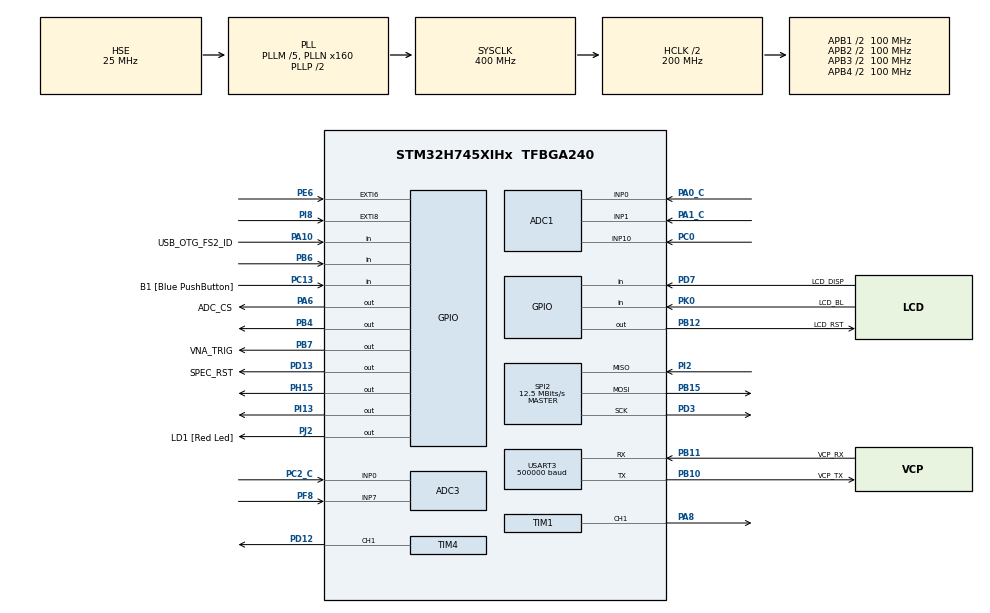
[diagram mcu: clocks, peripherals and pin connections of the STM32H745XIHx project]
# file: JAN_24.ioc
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ADC1.Channel-0\#ChannelRegularConversion=ADC_CHANNEL_0
ADC1.Channel-1\#ChannelRegularConversion=ADC_CHANNEL_1
ADC1.Channel-2\#ChannelRegularConversion=ADC_CHANNEL_10
ADC1.ContinuousConvMode=ENABLE
ADC1.DiscontinuousConvMode=DISABLE
ADC1.NbrOfConversion=3
ADC1.NbrOfConversionFlag=1
ADC1.NbrOfDiscConversion=3
ADC1.OffsetNumber-0\#ChannelRegularConversion=ADC_OFFSET_NONE
ADC1.OffsetNumber-1\#ChannelRegularConversion=ADC_OFFSET_NONE
ADC1.OffsetNumber-2\#ChannelRegularConversion=ADC_OFFSET_NONE
ADC1.OffsetSignedSaturation-0\#ChannelRegularConversion=DISABLE
ADC1.OffsetSignedSaturation-1\#ChannelRegularConversion=DISABLE
ADC1.OffsetSignedSaturation-2\#ChannelRegularConversion=DISABLE
ADC1.Rank-0\#ChannelRegularConversion=1
ADC1.Rank-1\#ChannelRegularConversion=2
ADC1.Rank-2\#ChannelRegularConversion=3
ADC1.SamplingTime-0\#ChannelRegularConversion=ADC_SAMPLETIME_1CYCLE_5
ADC1.SamplingTime-1\#ChannelRegularConversion=ADC_SAMPLETIME_1CYCLE_5
ADC1.SamplingTime-2\#ChannelRegularConversion=ADC_SAMPLETIME_1CYCLE_5
ADC1.master=1
ADC3.Channel-0\#ChannelRegularConversion=ADC_CHANNEL_7
ADC3.NbrOfConversionFlag=1
ADC3.OffsetNumber-0\#ChannelRegularConversion=ADC_OFFSET_NONE
ADC3.OffsetSignedSaturation-0\#ChannelRegularConversion=DISABLE
ADC3.Rank-0\#ChannelRegularConversion=1
ADC3.SamplingTime-0\#ChannelRegularConversion=ADC_SAMPLETIME_1CYCLE_5
CORTEX_M7.CPU_DCache=Enabled
CORTEX_M7.CPU_ICache=Enabled
CortexM4.IPs=FATFS_M4\:I,FREERTOS_M4\:I,IWDG2\:I,RCC,USB_DEVICE_M4\:I,USB_HOST_M4\:I,WWDG2\:I,DMA,BDMA,MDMA,NVIC2\:I,DEBUG,PDM2PCM_M4\:I,PWR,RESMGR_UTILITY,SYS_M4\:I,CORTEX_M4\:I,OPENAMP_M4\:I,VREFBUF,GPIO
CortexM7.IPs=FATFS_M7\:I,FREERTOS_M7\:I,IWDG1\:I,RCC\:I,USB_DEVICE_M7\:I,USB_HOST_M7\:I,WWDG1\:I,DMA\:I,BDMA\:I,MDMA\:I,NVIC1\:I,CORTEX_M7\:I,DEBUG\:I,PDM2PCM_M7\:I,PWR\:I,RESMGR_UTILITY\:I,SYS\:I,OPENAMP_M7\:I,VREFBUF\:I,GPIO\:I,SPI2\:I,USART3\:I,TIM2\:I,TIM1\:I,TIM4\:I,TIM16\:I,ADC1\:I,ADC3\:I
CortexM7.Pins=PB6,PB4 (NJTRST),PH15,PB7,PD7,PA10,PC13,PI8,PE6,PI13,PK0,PA6,PD13,PJ2,PB12
Dma.ADC1.0.Direction=DMA_PERIPH_TO_MEMORY
Dma.ADC1.0.EventEnable=ENABLE
Dma.ADC1.0.FIFOMode=DMA_FIFOMODE_DISABLE
Dma.ADC1.0.Instance=DMA1_Stream0
Dma.ADC1.0.MemDataAlignment=DMA_MDATAALIGN_WORD
Dma.ADC1.0.MemInc=DMA_MINC_ENABLE
Dma.ADC1.0.Mode=DMA_CIRCULAR
Dma.ADC1.0.PeriphDataAlignment=DMA_PDATAALIGN_WORD
Dma.ADC1.0.PeriphInc=DMA_PINC_DISABLE
Dma.ADC1.0.Polarity=HAL_DMAMUX_REQ_GEN_RISING
Dma.ADC1.0.Priority=DMA_PRIORITY_LOW
Dma.ADC1.0.RequestNumber=1
Dma.ADC1.0.SignalID=NONE
Dma.ADC1.0.SyncEnable=DISABLE
Dma.ADC1.0.SyncPolarity=HAL_DMAMUX_SYNC_NO_EVENT
Dma.ADC1.0.SyncRequestNumber=1
Dma.ADC1.0.SyncSignalID=NONE
Dma.Request0=ADC1
Mcu.Family=STM32H7
Mcu.Name=STM32H745XIHx
Mcu.Package=TFBGA240
NVIC1.DMA1_Stream0_IRQn=true\:0\:0\:false\:false\:true\:false\:true\:true
NVIC1.EXTI9_5_IRQn=true\:0\:0\:false\:false\:true\:true\:true\:true
NVIC1.PriorityGroup=NVIC_PRIORITYGROUP_4
NVIC1.TIM16_IRQn=true\:0\:0\:false\:false\:true\:true\:true\:true
NVIC1.TIM2_IRQn=true\:0\:0\:false\:false\:true\:true\:true\:true
NVIC1.TIM4_IRQn=true\:0\:0\:false\:false\:true\:true\:true\:true
NVIC2.PriorityGroup=NVIC_PRIORITYGROUP_4
PA0_C.PinAttribute=CortexM7
PA0_C.Signal=ADCx_INP0
PA10.GPIO_Label=USB_OTG_FS2_ID
PA10.PinAttribute=CortexM7
PA10.Signal=GPIO_Input
PA15\ (JTDI).PinAttribute=CortexM7
PA15\ (JTDI).Signal=SPI3_NSS
PA1_C.PinAttribute=CortexM7
PA1_C.Signal=ADCx_INP1
PA2.GPIO_Label=MII_MDIO
PA2.PinAttribute=CortexM4
PA2.Signal=ETH_MDIO
PA6.GPIO_Label=ADC_CS
PA6.PinAttribute=CortexM7
PA6.Signal=GPIO_Output
PA7.GPIO_Label=MII_RX_DV
PA7.PinAttribute=CortexM4
PA7.Signal=ETH_RX_DV
PA8.PinAttribute=CortexM7
PA8.Signal=S_TIM1_CH1
PA9.GPIO_Label=VBUS_FS2
PA9.PinAttribute=CortexM7
PA9.Signal=USB_OTG_FS_VBUS
PB0.GPIO_Label=MII_RXD2
PB0.PinAttribute=CortexM4
PB0.Signal=ETH_RXD2
PB1.GPIO_Label=MII_RXD3
PB1.PinAttribute=CortexM4
PB1.Signal=ETH_RXD3
PB10.GPIO_Label=VCP_TX
PB10.Mode=Asynchronous
PB10.PinAttribute=CortexM7
PB10.Signal=USART3_TX
PB11.GPIO_Label=VCP_RX
PB11.Mode=Asynchronous
PB11.PinAttribute=CortexM7
PB11.Signal=USART3_RX
PB12.GPIO_Label=LCD_RST
PB12.PinAttribute=CortexM7
PB12.Signal=GPIO_Output
PB13.GPIO_Label=FDCAN2_TX
PB13.PinAttribute=CortexM4
PB13.Signal=FDCAN2_TX
PB15.GPIO_Mode=GPIO_MODE_AF_PP
PB15.GPIO_PuPd=GPIO_NOPULL
PB15.Mode=Full_Duplex_Master
PB15.PinAttribute=CortexM7
PB15.Signal=SPI2_MOSI
PB4\ (NJTRST).PinAttribute=CortexM7
PB4\ (NJTRST).PinState=GPIO_PIN_RESET
PB4\ (NJTRST).Signal=GPIO_Output
PB5.GPIO_Label=FDCAN2_RX
PB5.PinAttribute=CortexM4
PB5.Signal=FDCAN2_RX
PB6.GPIO_Mode=GPIO_MODE_INPUT
PB6.PinAttribute=CortexM7
PB6.Signal=GPIO_Input
PB7.GPIO_Label=VNA_TRIG
PB7.PinAttribute=CortexM7
PB7.Signal=GPIO_Output
PB8.GPIO_Label=SDIO1_D4
PB8.PinAttribute=CortexM4
PB8.Signal=SDMMC1_D4
PB9.GPIO_Label=SDIO1_D5
PB9.PinAttribute=CortexM4
PB9.Signal=SDMMC1_D5
PC0.PinAttribute=CortexM7
PC0.Signal=ADCx_INP10
PC10.GPIO_Label=SDIO1_D2
PC10.PinAttribute=CortexM4
PC10.Signal=SDMMC1_D2
PC11.GPIO_Label=SDIO1_D3
PC11.PinAttribute=CortexM4
PC11.Signal=SDMMC1_D3
PC13.GPIO_Label=B1 [Blue PushButton]
PC13.PinAttribute=CortexM7
PC13.Signal=GPIO_Input
PC14-OSC32_IN\ (OSC32_IN).GPIO_Label=OSC32_IN
PC14-OSC32_IN\ (OSC32_IN).Mode=LSE-External-Clock-Source
PC14-OSC32_IN\ (OSC32_IN).PinAttribute=CortexM7
PC14-OSC32_IN\ (OSC32_IN).Signal=RCC_OSC32_IN
PC15-OSC32_OUT\ (OSC32_OUT).GPIO_Label=OSC32_OUT
PC15-OSC32_OUT\ (OSC32_OUT).PinAttribute=CortexM7
PC15-OSC32_OUT\ (OSC32_OUT).Signal=RCC_OSC32_OUT
PC2.GPIO_Label=MII_TXD2
PC2.PinAttribute=CortexM4
PC2.Signal=ETH_TXD2
PC2_C.Mode=IN0-Single-Ended
PC2_C.PinAttribute=CortexM7
PC2_C.Signal=ADC3_INP0
PC4.GPIO_Label=MII_RXD0
PC4.PinAttribute=CortexM4
PC4.Signal=ETH_RXD0
PC5.GPIO_Label=MII_RXD1
PC5.PinAttribute=CortexM4
PC5.Signal=ETH_RXD1
PC6.GPIO_Label=SDIO1_D6
PC6.PinAttribute=CortexM4
PC6.Signal=SDMMC1_D6
PC7.GPIO_Label=SDIO1_D7
PC7.PinAttribute=CortexM4
PC7.Signal=SDMMC1_D7
PC8.GPIO_Label=SDIO1_D0
PC8.PinAttribute=CortexM4
PC8.Signal=SDMMC1_D0
PD0.PinAttribute=CortexM4
PD0.Signal=FMC_D2_DA2
PD1.PinAttribute=CortexM4
PD1.Signal=FMC_D3_DA3
PD10.PinAttribute=CortexM4
PD10.Signal=FMC_D15_DA15
PD12.PinAttribute=CortexM7
PD12.Signal=S_TIM4_CH1
PD13.GPIO_Label=SPEC_RST
PD13.GPIO_ModeDefaultOutputPP=GPIO_MODE_OUTPUT_PP
PD13.GPIO_PuPd=GPIO_PULLDOWN
PD13.GPIO_Speed=GPIO_SPEED_FREQ_LOW
PD13.PinAttribute=CortexM7
PD13.PinState=GPIO_PIN_SET
PD13.Signal=GPIO_Output
PD14.PinAttribute=CortexM4
PD14.Signal=FMC_D0_DA0
PD15.PinAttribute=CortexM4
PD15.Signal=FMC_D1_DA1
PD2.GPIO_Label=SDIO1_CMD
PD2.PinAttribute=CortexM4
PD2.Signal=SDMMC1_CMD
PD3.GPIO_Speed=GPIO_SPEED_FREQ_LOW
PD3.Mode=Full_Duplex_Master
PD3.PinAttribute=CortexM7
PD3.Signal=SPI2_SCK
PD7.GPIO_Label=LCD_DISP
PD7.PinAttribute=CortexM7
PD7.Signal=GPIO_Input
PD8.PinAttribute=CortexM4
PD8.Signal=FMC_D13_DA13
PD9.PinAttribute=CortexM4
PD9.Signal=FMC_D14_DA14
PE0.PinAttribute=CortexM4
PE0.Signal=FMC_NBL0
PE1.PinAttribute=CortexM4
PE1.Signal=FMC_NBL1
PE10.PinAttribute=CortexM4
PE10.Signal=FMC_D7_DA7
PE11.PinAttribute=CortexM4
PE11.Signal=FMC_D8_DA8
PE12.PinAttribute=CortexM4
PE12.Signal=FMC_D9_DA9
PE13.PinAttribute=CortexM4
PE13.Signal=FMC_D10_DA10
PE14.PinAttribute=CortexM4
PE14.Signal=FMC_D11_DA11
PE15.PinAttribute=CortexM4
PE15.Signal=FMC_D12_DA12
PE2.GPIO_Label=MII_TXD3
PE2.PinAttribute=CortexM4
PE2.Signal=ETH_TXD3
PE4.PinAttribute=CortexM4
PE4.Signal=SAI4_D2
PE5.PinAttribute=CortexM4
PE5.Signal=SAI4_CK2
PE6.PinAttribute=CortexM7
PE6.Signal=GPXTI6
PE7.PinAttribute=CortexM4
PE7.Signal=FMC_D4_DA4
PE8.PinAttribute=CortexM4
PE8.Signal=FMC_D5_DA5
PE9.PinAttribute=CortexM4
PE9.Signal=FMC_D6_DA6
PF0.PinAttribute=CortexM4
PF0.Signal=FMC_A0
PF1.PinAttribute=CortexM4
PF1.Signal=FMC_A1
PF10.PinAttribute=CortexM4
PF10.Signal=QUADSPI_CLK
PF11.PinAttribute=CortexM4
PF11.Signal=FMC_SDNRAS
PF12.PinAttribute=CortexM4
PF12.Signal=FMC_A6
PF13.PinAttribute=CortexM4
PF13.Signal=FMC_A7
PF14.PinAttribute=CortexM4
PF14.Signal=FMC_A8
PF15.PinAttribute=CortexM4
PF15.Signal=FMC_A9
PF2.PinAttribute=CortexM4
PF2.Signal=FMC_A2
PF3.PinAttribute=CortexM4
PF3.Signal=FMC_A3
PF4.PinAttribute=CortexM4
PF4.Signal=FMC_A4
PF5.PinAttribute=CortexM4
PF5.Signal=FMC_A5
PF6.PinAttribute=CortexM4
PF6.Signal=QUADSPI_BK1_IO3
PF7.PinAttribute=CortexM4
PF7.Signal=QUADSPI_BK1_IO2
PF8.Mode=IN7-Single-Ended
PF8.PinAttribute=CortexM7
PF8.Signal=ADC3_INP7
PF9.PinAttribute=CortexM4
PF9.Signal=QUADSPI_BK1_IO1
PG0.PinAttribute=CortexM4
PG0.Signal=FMC_A10
PG1.PinAttribute=CortexM4
PG1.Signal=FMC_A11
PG10.PinAttribute=CortexM4
PG10.Signal=SAI2_SD_B
PG11.GPIO_Label=MII_TX_EN
PG11.PinAttribute=CortexM4
PG11.Signal=ETH_TX_EN
PG12.GPIO_Label=MII_TXD1
PG12.PinAttribute=CortexM4
PG12.Signal=ETH_TXD1
PG13.GPIO_Label=MII_TXD0
PG13.PinAttribute=CortexM4
PG13.Signal=ETH_TXD0
PG15.PinAttribute=CortexM4
PG15.Signal=FMC_SDNCAS
PG4.PinAttribute=CortexM4
PG4.Signal=FMC_A14_BA0
PG5.PinAttribute=CortexM4
PG5.Signal=FMC_A15_BA1
PG8.PinAttribute=CortexM4
PG8.Signal=FMC_SDCLK
PH0-OSC_IN\ (PH0).GPIO_Label=OSC_IN
PH0-OSC_IN\ (PH0).Mode=HSE-External-Oscillator
PH0-OSC_IN\ (PH0).PinAttribute=CortexM7
PH0-OSC_IN\ (PH0).Signal=RCC_OSC_IN
PH1-OSC_OUT\ (PH1).GPIO_Label=OSC_OUT
PH1-OSC_OUT\ (PH1).Mode=HSE-External-Oscillator
PH1-OSC_OUT\ (PH1).PinAttribute=CortexM7
PH1-OSC_OUT\ (PH1).Signal=RCC_OSC_OUT
PH13.GPIO_Label=FDCAN1_TX
PH13.PinAttribute=CortexM4
PH13.Signal=FDCAN1_TX
PH14.GPIO_Label=FDCAN2_RX
PH14.PinAttribute=CortexM4
PH14.Signal=FDCAN1_RX
PH15.PinAttribute=CortexM7
PH15.Signal=GPIO_Output
PH2.GPIO_Label=MII_CRS
PH2.PinAttribute=CortexM4
PH2.Signal=ETH_CRS
PH3.GPIO_Label=MII_COL
PH3.PinAttribute=CortexM4
PH3.Signal=ETH_COL
PH5.PinAttribute=CortexM4
PH5.Signal=FMC_SDNWE
PH6.PinAttribute=CortexM4
PH6.Signal=FMC_SDNE1
PH7.PinAttribute=CortexM4
PH7.Signal=FMC_SDCKE1
PH9.PinAttribute=CortexM4
PH9.Signal=LTDC_R3
PI0.PinAttribute=CortexM4
PI0.Signal=LTDC_G5
PI1.PinAttribute=CortexM4
PI1.Signal=LTDC_G6
PI10.GPIO_Label=MII_RX_ER
PI10.PinAttribute=CortexM4
PI10.Signal=ETH_RX_ER
PI12.PinAttribute=CortexM4
PI12.Signal=LTDC_HSYNC
PI13.PinAttribute=CortexM7
PI13.Signal=GPIO_Output
PI14.PinAttribute=CortexM4
PI14.Signal=LTDC_CLK
PI15.PinAttribute=CortexM4
PI15.Signal=LTDC_R0
PI2.Mode=Full_Duplex_Master
PI2.PinAttribute=CortexM7
PI2.Signal=SPI2_MISO
PI4.PinAttribute=CortexM4
PI4.Signal=SAI2_MCLK_A
PI5.PinAttribute=CortexM4
PI5.Signal=SAI2_SCK_A
PI6.PinAttribute=CortexM4
PI6.Signal=SAI2_SD_A
PI7.PinAttribute=CortexM4
PI7.Signal=SAI2_FS_A
PI8.PinAttribute=CortexM7
PI8.Signal=GPXTI8
PI9.PinAttribute=CortexM4
PI9.Signal=LTDC_VSYNC
PJ0.PinAttribute=CortexM4
PJ0.Signal=LTDC_R1
PJ1.PinAttribute=CortexM4
PJ1.Signal=LTDC_R2
PJ10.PinAttribute=CortexM4
PJ10.Signal=LTDC_G3
PJ11.PinAttribute=CortexM4
PJ11.Signal=LTDC_G4
PJ12.PinAttribute=CortexM4
PJ12.Signal=LTDC_B0
PJ13.PinAttribute=CortexM4
PJ13.Signal=LTDC_B1
PJ14.PinAttribute=CortexM4
PJ14.Signal=LTDC_B2
PJ15.GPIO_Label=LCD_DISP
PJ15.PinAttribute=CortexM4
PJ15.Signal=LTDC_B3
PJ2.GPIO_Label=LD1 [Red Led]
PJ2.PinAttribute=CortexM7
PJ2.Signal=GPIO_Output
PJ3.PinAttribute=CortexM4
PJ3.Signal=LTDC_R4
PJ4.PinAttribute=CortexM4
PJ4.Signal=LTDC_R5
PJ5.PinAttribute=CortexM4
PJ5.Signal=LTDC_R6
PJ6.PinAttribute=CortexM4
PJ6.Signal=LTDC_R7
PJ7.PinAttribute=CortexM4
PJ7.Signal=LTDC_G0
PJ8.PinAttribute=CortexM4
PJ8.Signal=LTDC_G1
PJ9.PinAttribute=CortexM4
PJ9.Signal=LTDC_G2
PK0.GPIO_Label=LCD_BL
PK0.PinAttribute=CortexM7
PK0.Signal=GPIO_Input
PK2.PinAttribute=CortexM4
PK2.Signal=LTDC_G7
PK3.PinAttribute=CortexM4
PK3.Signal=LTDC_B4
PK4.PinAttribute=CortexM4
PK4.Signal=LTDC_B5
PK5.PinAttribute=CortexM4
PK5.Signal=LTDC_B6
PK6.PinAttribute=CortexM4
PK6.Signal=LTDC_B7
PK7.PinAttribute=CortexM4
PK7.Signal=LTDC_DE
ProjectManager.HeapSize=M4-0x200,M7-0x200
ProjectManager.StackSize=M4-0x400,M7-0x400
ProjectManager.TargetToolchain=STM32CubeIDE
RCC.ADCFreq_Value=75000000
RCC.APB1Freq_Value=100000000
RCC.APB2Freq_Value=100000000
RCC.APB3Freq_Value=100000000
RCC.APB4Freq_Value=100000000
RCC.CortexFreq_Value=400000000
RCC.D1PPRE=RCC_APB3_DIV2
RCC.D2PPRE1=RCC_APB1_DIV2
RCC.D2PPRE2=RCC_APB2_DIV2
RCC.D3PPRE=RCC_APB4_DIV2
RCC.DIVM1=5
RCC.DIVM2=2
RCC.DIVN1=160
RCC.DIVN2=12
RCC.DIVN3=192
RCC.DIVQ1=4
RCC.DIVR1=4
RCC.HCLKFreq_Value=200000000
RCC.HPRE=RCC_HCLK_DIV2
RCC.PLLSourceVirtual=RCC_PLLSOURCE_HSE
RCC.SYSCLKFreq_VALUE=400000000
RCC.SYSCLKSource=RCC_SYSCLKSOURCE_PLLCLK
RCC.SupplySource=PWR_DIRECT_SMPS_SUPPLY
RCC.USBFreq_Value=200000000
SH.ADCx_INP0.0=ADC1_INP0,IN0-Single-Ended
SH.ADCx_INP1.0=ADC1_INP1,IN1-Single-Ended
SH.ADCx_INP10.0=ADC1_INP10,IN10-Single-Ended
SH.FMC_A0.0=FMC_A0
SH.FMC_A1.0=FMC_A1
SH.FMC_A10.0=FMC_A10
SH.FMC_A11.0=FMC_A11
SH.FMC_A14_BA0.0=FMC_BA0
SH.FMC_A15_BA1.0=FMC_BA1
SH.FMC_A2.0=FMC_A2
SH.FMC_A3.0=FMC_A3
SH.FMC_A4.0=FMC_A4
SH.FMC_A5.0=FMC_A5
SH.FMC_A6.0=FMC_A6
SH.FMC_A7.0=FMC_A7
SH.FMC_A8.0=FMC_A8
SH.FMC_A9.0=FMC_A9
SH.FMC_D0_DA0.0=FMC_D0
SH.FMC_D10_DA10.0=FMC_D10
SH.FMC_D11_DA11.0=FMC_D11
SH.FMC_D12_DA12.0=FMC_D12
SH.FMC_D13_DA13.0=FMC_D13
SH.FMC_D14_DA14.0=FMC_D14
SH.FMC_D15_DA15.0=FMC_D15
SH.FMC_D1_DA1.0=FMC_D1
SH.FMC_D2_DA2.0=FMC_D2
SH.FMC_D3_DA3.0=FMC_D3
SH.FMC_D4_DA4.0=FMC_D4
SH.FMC_D5_DA5.0=FMC_D5
SH.FMC_D6_DA6.0=FMC_D6
SH.FMC_D7_DA7.0=FMC_D7
SH.FMC_D8_DA8.0=FMC_D8
SH.FMC_D9_DA9.0=FMC_D9
SH.FMC_NBL0.0=FMC_NBL0
SH.FMC_NBL1.0=FMC_NBL1
SH.FMC_SDCLK.0=FMC_SDCLK
SH.FMC_SDNCAS.0=FMC_SDNCAS
SH.FMC_SDNRAS.0=FMC_SDNRAS
SH.FMC_SDNWE.0=FMC_SDNWE
SH.S_TIM1_CH1.0=TIM1_CH1,PWM Generation1 CH1
SH.S_TIM4_CH1.0=TIM4_CH1,PWM Generation1 CH1
SPI2.BaudRatePrescaler=SPI_BAUDRATEPRESCALER_16
SPI2.CLKPhase=SPI_PHASE_2EDGE
SPI2.CLKPolarity=SPI_POLARITY_HIGH
SPI2.CalculateBaudRate=12.5 MBits/s
SPI2.DataSize=SPI_DATASIZE_16BIT
SPI2.Direction=SPI_DIRECTION_2LINES
SPI2.Mode=SPI_MODE_MASTER
SPI2.NSSPolarity=SPI_NSS_POLARITY_LOW
SPI2.VirtualType=VM_MASTER
TIM1.AutoReloadPreload=TIM_AUTORELOAD_PRELOAD_ENABLE
TIM1.Channel-PWM\ Generation1\ CH1=TIM_CHANNEL_1
TIM1.OCFastMode_PWM-PWM\ Generation1\ CH1=TIM_OCFAST_DISABLE
TIM1.Period=50
TIM1.Prescaler=200
TIM1.Pulse-PWM\ Generation1\ CH1=0
TIM16.AutoReloadPreload=TIM_AUTORELOAD_PRELOAD_ENABLE
TIM16.Period=2000-1
TIM16.Prescaler=2000-1
TIM2.AutoReloadPreload=TIM_AUTORELOAD_PRELOAD_ENABLE
TIM2.Period=10-1
TIM2.Prescaler=200-1
TIM4.AutoReloadPreload=TIM_AUTORELOAD_PRELOAD_ENABLE
TIM4.Channel-PWM\ Generation1\ CH1=TIM_CHANNEL_1
TIM4.OCPolarity_1=TIM_OCPOLARITY_LOW
TIM4.Period=10-1
TIM4.Prescaler=200-1
USART3.BaudRate=500000
USART3.Mode=MODE_TX
USART3.VirtualMode-Asynchronous=VM_ASYNC
VP_SYS_M4_VS_Systick.Mode=SysTick
VP_TIM16_VS_ClockSourceINT.Mode=Enable_Timer
VP_TIM1_VS_ClockSourceINT.Mode=Internal
VP_TIM2_VS_ClockSourceINT.Mode=Internal
board=STM32H745I-DISCO

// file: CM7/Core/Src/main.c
/* USER CODE BEGIN Header */
/**
  ******************************************************************************
  * @file           : main.c
  * @brief          : Main program body
  ******************************************************************************
  * @attention
  *
  * Copyright (c) 2023 STMicroelectronics.
  * All rights reserved.
  *
  * This software is licensed under terms that can be found in the LICENSE file
  * in the root directory of this software component.
  * If no LICENSE file comes with this software, it is provided AS-IS.
  *
  * Capstone team 42 2022/2023
  * Author: Joseph Peterson (joepetejp@gmail.com)
  * Date: March 13 2023
  *
  * Overview: The purpose of this code is to collect both optical spectrometry and
  * bioimpedance data concurrently. The timing of this code is driven by two timers.
  * The first timer runs at 50 Hz and controlls the data collection speed for the
  * entire system. Each time the 50 Hz timer triggers, it begins a data collection cycle
  * which includes triggering the VNA, triggering the Homamatsu Chip, collecting from the
  * H-chip via external ADC and saving that data to solid state memory.
  *
  * The second timer runs at 100KHz and is associated with the variable counter which
  * appears frequently in the main loop of the code.This timer exactly matches the
  * frequency of the clock that tells the H-chip how fast to send data. It is this faster
  * timer that controls the timing of the actual data collection cycle.
  *
  *
  ******************************************************************************
  */
/* USER CODE END Header */
#include "main.h"

/* USER CODE BEGIN Includes */
#include "stdio.h"
#include "stdbool.h"
#include "pthread.h"
#include <stdio.h>
#include <stdlib.h>
/* USER CODE END Includes */

ADC_HandleTypeDef hadc1;
ADC_HandleTypeDef hadc3;
DMA_HandleTypeDef hdma_adc1;

SPI_HandleTypeDef hspi2;

TIM_HandleTypeDef htim1;
TIM_HandleTypeDef htim2;
TIM_HandleTypeDef htim4;
TIM_HandleTypeDef htim16;

UART_HandleTypeDef huart3;

/* USER CODE BEGIN PV */
// Global Variables
//*************************Boolean Values************************************************************************************************************************************************
bool optReady = false; // True if the H-chip is ready to send data
bool slowSPI = false;
bool sendData = false;

//*************************Data Buffers**************************************************************************************************************************************************
uint16_t spi_read_buf; // Temporarily holds data which is read via SPI from the ADC
uint16_t spi_destroy_buf; // Holds data that is unimportant to us

//*************************Data Collection Cycle Variables*******************************************************************************************************************************
int counter = 0; // Fast counter associated with timer 2, incremented in interrupt function
int slowCounter = 0; // Slow counter associated with timer 16, also incremented in IF
int seconds = 0; // Counts how many seconds of data we have collected
int collected = 0; // Counts how many data samples have been collected in given data cycle
int needed = 130; // Number of samples needed from H-chip in given cycle
int counterPrevious = 0; // Records previous value of counter

//*************************LED Control Variables*****************************************************************************************************************************************
//float calibration = [0.5, 0.25, 0.125, 0.05, 0.025, 0.0125, 0.005];
//float LED_Voltages = [2.0, 2.0, 2.0, 2.0, 2.0];
//int LED_Cal_Set = [0, 0, 0, 0, 0];
//float vSense_Array[] = [0, 0, 0, 0, 0];
//int LED_Voltage_Shootover = [0, 0, 0, 0, 0];
//float Vat50mA = 2.6;

//*************************States********************************************************************************************************************************************************
enum states{collect,wait,test,checkLED}state; //States which main loop switches between
/* USER CODE END PV */

void SystemClock_Config(void);
void PeriphCommonClock_Config(void);
static void MX_GPIO_Init(void);
static void MX_DMA_Init(void);
static void MX_USART3_UART_Init(void);
static void MX_TIM2_Init(void);
static void MX_TIM1_Init(void);
static void MX_TIM4_Init(void);
static void MX_TIM16_Init(void);
static void MX_ADC1_Init(void);
static void MX_SPI2_Init(void);
static void MX_ADC3_Init(void);
/* USER CODE BEGIN PFP */
TIM_HandleTypeDef htim2;

/* USER CODE END PFP */

/* USER CODE BEGIN 0 */
uint32_t value[3];
/* USER CODE END 0 */

int main(void)
{
/* USER CODE BEGIN Boot_Mode_Sequence_0 */

/* USER CODE END Boot_Mode_Sequence_0 */

  /* Enable I-Cache---------------------------------------------------------*/
  SCB_EnableICache();

  /* Enable D-Cache---------------------------------------------------------*/
  SCB_EnableDCache();

/* USER CODE BEGIN Boot_Mode_Sequence_1 */
  /* Wait until CPU2 boots and enters in stop mode or timeout*/
 /* timeout = 0xFFFF;
  while((__HAL_RCC_GET_FLAG(RCC_FLAG_D2CKRDY) != RESET) && (timeout-- > 0));
  if ( timeout < 0 )
  {
  Error_Handler();
  }*/
/* USER CODE END Boot_Mode_Sequence_1 */
  /* MCU Configuration--------------------------------------------------------*/

  /* Reset of all peripherals, Initializes the Flash interface and the Systick. */
  HAL_Init();

  /* Configure the system clock */
  SystemClock_Config();

/* Configure the peripherals common clocks */
  PeriphCommonClock_Config();
/* USER CODE BEGIN Boot_Mode_Sequence_2 */
/* When system initialization is finished, Cortex-M7 will release Cortex-M4 by means of
HSEM notification */
/*HW semaphore Clock enable*/
__HAL_RCC_HSEM_CLK_ENABLE();
/*Take HSEM */
//HAL_HSEM_FastTake(HSEM_ID_0);
///*Release HSEM in order to notify the CPU2(CM4)*/
//HAL_HSEM_Release(HSEM_ID_0,0);
///* wait until CPU2 wakes up from stop mode */
//timeout = 0xFFFF;
//while((__HAL_RCC_GET_FLAG(RCC_FLAG_D2CKRDY) == RESET) && (timeout-- > 0));
//if ( timeout < 0 )
//{
//Error_Handler();
//}
/* USER CODE END Boot_Mode_Sequence_2 */

  /* Initialize all configured peripherals */
  MX_GPIO_Init();
  MX_DMA_Init();
  MX_USART3_UART_Init();
  MX_TIM2_Init();
  MX_TIM1_Init();
  MX_TIM4_Init();
  MX_TIM16_Init();
  MX_ADC1_Init();
  MX_SPI2_Init();
  MX_ADC3_Init();
  /* USER CODE BEGIN 2 */
  HAL_TIM_Base_Start_IT(&htim2);
  HAL_TIM_Base_Start_IT(&htim16);
  HAL_TIM_PWM_Start(&htim4,TIM_CHANNEL_1);
  HAL_TIM_PWM_Start(&htim4,TIM_CHANNEL_2);

  TIM4->CCR1 = 5;
  TIM4->CCR2 = 5; // 5/10 50 percent duty cycle, becomes the clock for the H-chip
  /* USER CODE END 2 */

  /* Infinite loop */
  /* USER CODE BEGIN WHILE */

  uint16_t writeBuf1 = 0b0000100001100100; // LED
  uint16_t writeBuf2 = 0b0000010001100100; // LED
  uint16_t writeBuf3 = 0b0000110001100100; // LED
  uint16_t writeBuf4 = 0b0000001001100100; // LED
  uint16_t writeBuf5 = 0b0000101001100100; // LED
  uint16_t writeBuf6 = 0b0000011001100100; // LED
  uint16_t ADCData[needed];
  char uart_buf[1000];
  int uart_buf_len;
  char num[6];

  HAL_GPIO_WritePin(GPIOB,GPIO_PIN_4,GPIO_PIN_RESET);
  slowSPI = true;
  MX_SPI2_Init();
  //hspi2.Init.BaudRatePrescaler = SPI_BAUDRATEPRESCALER_32;
  HAL_SPI_Transmit(&hspi2,(uint16_t *)&writeBuf1,1,100);
  HAL_GPIO_WritePin(GPIOB,GPIO_PIN_4,GPIO_PIN_SET);
  HAL_GPIO_WritePin(GPIOB,GPIO_PIN_4,GPIO_PIN_RESET);
  HAL_SPI_Transmit(&hspi2,(uint16_t *)&writeBuf2,1,100);
  HAL_GPIO_WritePin(GPIOB,GPIO_PIN_4,GPIO_PIN_SET);
  HAL_GPIO_WritePin(GPIOB,GPIO_PIN_4,GPIO_PIN_RESET);
  HAL_SPI_Transmit(&hspi2,(uint16_t *)&writeBuf3,1,100);
  HAL_GPIO_WritePin(GPIOB,GPIO_PIN_4,GPIO_PIN_SET);
  HAL_GPIO_WritePin(GPIOB,GPIO_PIN_4,GPIO_PIN_RESET);
  HAL_SPI_Transmit(&hspi2,(uint16_t *)&writeBuf4,1,100);
  HAL_GPIO_WritePin(GPIOB,GPIO_PIN_4,GPIO_PIN_SET);
  HAL_GPIO_WritePin(GPIOB,GPIO_PIN_4,GPIO_PIN_RESET);
  HAL_SPI_Transmit(&hspi2,(uint16_t *)&writeBuf5,1,100);
  HAL_GPIO_WritePin(GPIOB,GPIO_PIN_4,GPIO_PIN_SET);
  HAL_GPIO_WritePin(GPIOB,GPIO_PIN_4,GPIO_PIN_RESET);
  HAL_SPI_Transmit(&hspi2,(uint16_t *)&writeBuf6,1,100);
  HAL_GPIO_WritePin(GPIOB,GPIO_PIN_4,GPIO_PIN_SET);
  HAL_ADC_Start_DMA(&hadc1, value, 3);

  HAL_Delay(1000);

  //char spi_read_buf[20];

  state = collect; //Initial state. Set to test to test out a block of code.
  while (1)
  {
	  switch(state){
	  	  case collect:

	  		    if (counter == 0) // set spec reset pin high to tell h-chip to send data
				{
					HAL_GPIO_WritePin(GPIOD, SPEC_RST_Pin,GPIO_PIN_SET); // Tells H-chip to send data
					HAL_GPIO_WritePin(GPIOB, VNA_TRIG_Pin,GPIO_PIN_SET); // Tells VNA to collect data
				}
	  		    else if (counter == 10) // set spec reset back low
				{
					HAL_GPIO_WritePin(GPIOD, SPEC_RST_Pin,GPIO_PIN_RESET); // Sends SPEC_RST back low
					optReady = true; // We found that it was more effective to hard code the timing of this rather than tying optReady to an external interrupt
				}
				else if (optReady && (counter > counterPrevious) && (collected < needed) && (counter > 14)) // wait for AD_SP from the h-chip then uses spi2 to read from adc
				{

					for(int i = 0; i < 12; i++) // A little jenky, delays so that timing is right for data collection from H-chip
					{
						HAL_GPIO_TogglePin(GPIOI,GPIO_PIN_13);//This is the onboard red LED
					}
					HAL_GPIO_WritePin(GPIOA,ADC_CS_Pin,GPIO_PIN_SET); //CS for ADC, ADC collects at the moment this goes high
				    HAL_SPI_Receive(&hspi2, &spi_destroy_buf, 1, 100); //ADC needs this clock to convert analog value to Digital
				    HAL_GPIO_WritePin(GPIOA,ADC_CS_Pin,GPIO_PIN_RESET); //Tells ADC we are done sampling
				    HAL_SPI_Receive(&hspi2, &spi_read_buf, 1, 100); // Read digital value from ADC
				    counterPrevious = counter; // So we only collect when the value of counter changes
				    ADCData[collected] = spi_read_buf; // append to array
				    collected++;

				}
				else if (collected == needed) // Stop collecting data, save data
				{
//					char uart_buf[1000];
//					int uart_buf_len;
//				    int i;
//
//				    for (i = 0; i < 25; i++) {
//				        char num[6]; // allocate space for a 5-digit number and a null terminator
//				        sprintf(num, "%hu", ADCData[i]); // convert uint16_t to string
//				        strcat(uart_buf, num); // concatenate string with current number
//				        if (i < 24) { // add a comma after every element except the last one
//				            strcat(uart_buf, ",");
//				        }
//				        if (i > 23) { // add a comma after every element except the last one
//							strcat(uart_buf, ",");
//							sprintf(num, "%hu", slowCounter);
//							strcat(uart_buf,num);
//							strcat(uart_buf, "\n");
//						}
//				    }
				    //sprintf(uart_buf, "%d\n", slowCounter);
					//***********This block sends data over UART for testing purposes**************************************************************************************************************************
//					uart_buf_len = strlen(uart_buf);//sprintf(uart_buf, "%d", ADCData[127]);
//					HAL_UART_Transmit(&huart3,(uint8_t *)uart_buf,strlen(uart_buf),100);
//					memset(uart_buf,0,uart_buf_len);
					//uart_buf = "";
					//uart_buf_len = 0;
    				//uart_buf_len = sprintf(uart_buf,"\n");
//					HAL_UART_Transmit(&huart3,(uint8_t *)uart_buf,uart_buf_len,100);
					//*****************************************************************************************************************************************************************************************
					collected = 0; // Resets Collected to 0 for next data collection cycle
					optReady = false; // Prevents code from trying to collect from ADC until reset to true
					//************this is where we save the data***********************************************************************************************************************************************;
				}
				else if (counter == 160) // reset after one data collection cycle
				{
					counter = 0;
					counterPrevious = 0;
					state = wait;
					sendData = true;
				}
	  		    if (counter == 20) //Sets VNA_TRIG_Pin low without interrupting timing of H-Chip collection
	  		    {
	  		    	HAL_GPIO_WritePin(GPIOB,VNA_TRIG_Pin,GPIO_PIN_RESET);
	  		    }
				break;
	  	  case wait:
	  		  	// Just waits for 50Hz timer to switch state back to collect and checks LEDs once a second
	  		  	 if (sendData)
				 {
					for (int i = 1; i < 129; i++) {
						//char num[6]; // allocate space for a 5-digit number and a null terminator
						sprintf(num, "%hu", ADCData[i]); // convert uint16_t to string
						strcat(uart_buf, num); // concatenate string with current number
						if (i < 128) { // add a comma after every element except the last one
							strcat(uart_buf, ",");
						}
						if (i == 128) { // add a comma after every element except the last one
//							strcat(uart_buf, ",");
//							sprintf(num, "%hu", slowCounter);
//							strcat(uart_buf,num);
							strcat(uart_buf, "\n");
						}
					}
					uart_buf_len = strlen(uart_buf);//sprintf(uart_buf, "%d", ADCData[127]);
					HAL_UART_Transmit(&huart3,(uint8_t *)uart_buf,strlen(uart_buf),50);
					memset(uart_buf,0,uart_buf_len);
					sendData = false;
				 }
	  		  	 if (slowCounter > 50)
	  		  	{
	  		  		slowCounter = 0;
	  		  		//state = checkLED;
	  		  		//seconds++;
	  		  	}
	  		  	break;
	  	  case checkLED:
//	  		  	vSense_Array[0] = vSense0;
//	  		    vSense_Array[1] = vSense1;
//	  		    vSense_Array[2] = vSense2;
//	  		    vSense_Array[3] = vSense3;
//	  		    vSense_Array[4] = vSense4;
//
//	  		    for (int i = 0; i < 5; i++) {
//	  		      if (vSense_Array[i] < Vat50mA) {
//	  		        if (!LED_Voltage_Shootover[i]) {
//	  		          LED_Voltages[i] = LED_Voltages[i] + calibration[0];
//	  		        }
//	  		        else {
//	  		          LED_Cal_Set[i]++;
//	  		          LED_Voltages[i] = LED_Voltages[i] + calibration[LED_Cal_Set[i]];
//	  		        }
//	  		      }
//	  		      else if (vSense_Array[i] > Vat50mA) {
//	  		        LED_Voltage_shootover[i] = 1;
//	  		        LED_Cal_Set[i]++;
//	  		        LED_Voltages[i] = LED_Voltages[i] - calibration[LED_Cal_Set[i]];
//	  		      }
//	  		    }
	  		  	break;

	  	  case test: //Never runs in normal code operation, just a handy place to test something out
	  		  //To use set state to test right above the while loop
		  HAL_TIM_Base_Stop_IT(&htim2);
		  HAL_TIM_Base_Stop_IT(&htim16);
//	  		uint32_t adc_value = 0;
//	  		uint32_t data_conversion_1 = 0;
//			uint32_t data_conversion_2 = 0;
//			uint32_t data_conversion_3 = 0;
//			value[0] = HAL_ADC_GetValue(&hadc1);
//			value[1] = HAL_ADC_GetValue(&hadc1);
//			value[2] = HAL_ADC_GetValue(&hadc1);

			//uint32_t value[3];
			//HAL_ADC_Start_DMA(&hadc1, value, 3); // start adc in DMA mode
			//HAL_ADC_Stop_DMA(&hadc1);

//	  		HAL_ADC_Start(&hadc1);
//
//	  		HAL_ADC_PollForConversion(&hadc1,10);
//
//	  		data_conversion_1 = HAL_ADC_GetValue(&hadc1);
//
//	  		HAL_ADC_Start(&hadc1);
//
//	  		HAL_ADC_PollForConversion(&hadc1,10);
//
//	  		data_conversion_2 = HAL_ADC_GetValue(&hadc1);
//
//	  		HAL_ADC_Start(&hadc1);
//
//			HAL_ADC_PollForConversion(&hadc1,10);
//
//			data_conversion_3 = HAL_ADC_GetValue(&hadc1);
//
//	  		HAL_ADC_Stop(&hadc1);
//	  		if (HAL_ADC_Start(&hadc1) == HAL_OK)
//	  		{
//	  		  if (HAL_ADC_PollForConversion(&hadc1, 10) == HAL_OK)
//	  		  {
//	  		    adc_value = HAL_ADC_GetValue(&hadc1);
//	  		  }
//	  		  HAL_ADC_Stop(&hadc1);
//	  		}
			//HAL_ADC_PollForConversion(&hadc1,10);

//	  		uart_buf_len = sprintf(uart_buf, "%d", value[0]);
//			HAL_UART_Transmit(&huart3,(uint8_t *)uart_buf,uart_buf_len,100);
//			uart_buf_len = sprintf(uart_buf, "\n");
//			HAL_UART_Transmit(&huart3,(uint8_t *)uart_buf,uart_buf_len,100);
//			HAL_Delay(50);
//	  		  HAL_TIM_Base_Stop_IT(&htim2);
//	  		  HAL_TIM_Base_Stop_IT(&htim16);
//
//
	  		  HAL_GPIO_WritePin(GPIOB,GPIO_PIN_4,GPIO_PIN_RESET);
	  		  slowSPI = true;
	  		  MX_SPI2_Init();
	  		  //hspi2.Init.BaudRatePrescaler = SPI_BAUDRATEPRESCALER_32;
	  		  HAL_SPI_Transmit(&hspi2,(uint16_t *)&writeBuf1,1,100);
	  		  HAL_GPIO_WritePin(GPIOB,GPIO_PIN_4,GPIO_PIN_SET);
	  		  HAL_GPIO_WritePin(GPIOB,GPIO_PIN_4,GPIO_PIN_RESET);
	  		  HAL_SPI_Transmit(&hspi2,(uint16_t *)&writeBuf2,1,100);
	  		  HAL_GPIO_WritePin(GPIOB,GPIO_PIN_4,GPIO_PIN_SET);
	  		  HAL_GPIO_WritePin(GPIOB,GPIO_PIN_4,GPIO_PIN_RESET);
	  		  HAL_SPI_Transmit(&hspi2,(uint16_t *)&writeBuf3,1,100);
	  		  HAL_GPIO_WritePin(GPIOB,GPIO_PIN_4,GPIO_PIN_SET);
	  		  HAL_GPIO_WritePin(GPIOB,GPIO_PIN_4,GPIO_PIN_RESET);
	  		  HAL_SPI_Transmit(&hspi2,(uint16_t *)&writeBuf4,1,100);
	  		  HAL_GPIO_WritePin(GPIOB,GPIO_PIN_4,GPIO_PIN_SET);
	  		  HAL_GPIO_WritePin(GPIOB,GPIO_PIN_4,GPIO_PIN_RESET);
	  		  HAL_SPI_Transmit(&hspi2,(uint16_t *)&writeBuf5,1,100);
	  		  HAL_GPIO_WritePin(GPIOB,GPIO_PIN_4,GPIO_PIN_SET);
	  		  HAL_GPIO_WritePin(GPIOB,GPIO_PIN_4,GPIO_PIN_RESET);
	  		  HAL_SPI_Transmit(&hspi2,(uint16_t *)&writeBuf6,1,100);
	  		  HAL_GPIO_WritePin(GPIOB,GPIO_PIN_4,GPIO_PIN_SET);
	  		  //hspi2.Init.BaudRatePrescaler = SPI_BAUDRATEPRESCALER_16;
	  		  //hspi2.Init.NSSPMode = SPI_NSS_PULSE_DISABLE;
//
//	  		  HAL_GPIO_TogglePin(GPIOA,ADC_CS_Pin);
//	  		  HAL_SPI_Receive(&hspi2, (uint16_t *)spi_read_buf, 1, 100);
//	  		  HAL_GPIO_TogglePin(GPIOA,ADC_CS_Pin);
//	  		  HAL_SPI_Receive(&hspi2, (uint16_t *)spi_read_buf, 1, 100);
//	  		  HAL_GPIO_TogglePin(GPIOI,GPIO_PIN_13);
//	  		  HAL_Delay(50);

	  		  break;

	  }

    /* USER CODE END WHILE */

  }
}

void SystemClock_Config(void)
{
  RCC_OscInitTypeDef RCC_OscInitStruct = {0};
  RCC_ClkInitTypeDef RCC_ClkInitStruct = {0};

  /** Supply configuration update enable
  */
  HAL_PWREx_ConfigSupply(PWR_DIRECT_SMPS_SUPPLY);

  /** Configure the main internal regulator output voltage
  */
  __HAL_PWR_VOLTAGESCALING_CONFIG(PWR_REGULATOR_VOLTAGE_SCALE1);

  while(!__HAL_PWR_GET_FLAG(PWR_FLAG_VOSRDY)) {}

  /** Macro to configure the PLL clock source
  */
  __HAL_RCC_PLL_PLLSOURCE_CONFIG(RCC_PLLSOURCE_HSE);

  /** Initializes the RCC Oscillators according to the specified parameters
  * in the RCC_OscInitTypeDef structure.
  */
  RCC_OscInitStruct.OscillatorType = RCC_OSCILLATORTYPE_HSE;
  RCC_OscInitStruct.HSEState = RCC_HSE_ON;
  RCC_OscInitStruct.PLL.PLLState = RCC_PLL_ON;
  RCC_OscInitStruct.PLL.PLLSource = RCC_PLLSOURCE_HSE;
  RCC_OscInitStruct.PLL.PLLM = 5;
  RCC_OscInitStruct.PLL.PLLN = 160;
  RCC_OscInitStruct.PLL.PLLP = 2;
  RCC_OscInitStruct.PLL.PLLQ = 4;
  RCC_OscInitStruct.PLL.PLLR = 4;
  RCC_OscInitStruct.PLL.PLLRGE = RCC_PLL1VCIRANGE_2;
  RCC_OscInitStruct.PLL.PLLVCOSEL = RCC_PLL1VCOWIDE;
  RCC_OscInitStruct.PLL.PLLFRACN = 0;
  if (HAL_RCC_OscConfig(&RCC_OscInitStruct) != HAL_OK)
  {
    Error_Handler();
  }

  /** Initializes the CPU, AHB and APB buses clocks
  */
  RCC_ClkInitStruct.ClockType = RCC_CLOCKTYPE_HCLK|RCC_CLOCKTYPE_SYSCLK
                              |RCC_CLOCKTYPE_PCLK1|RCC_CLOCKTYPE_PCLK2
                              |RCC_CLOCKTYPE_D3PCLK1|RCC_CLOCKTYPE_D1PCLK1;
  RCC_ClkInitStruct.SYSCLKSource = RCC_SYSCLKSOURCE_PLLCLK;
  RCC_ClkInitStruct.SYSCLKDivider = RCC_SYSCLK_DIV1;
  RCC_ClkInitStruct.AHBCLKDivider = RCC_HCLK_DIV2;
  RCC_ClkInitStruct.APB3CLKDivider = RCC_APB3_DIV2;
  RCC_ClkInitStruct.APB1CLKDivider = RCC_APB1_DIV2;
  RCC_ClkInitStruct.APB2CLKDivider = RCC_APB2_DIV2;
  RCC_ClkInitStruct.APB4CLKDivider = RCC_APB4_DIV2;

  if (HAL_RCC_ClockConfig(&RCC_ClkInitStruct, FLASH_LATENCY_2) != HAL_OK)
  {
    Error_Handler();
  }
}

void PeriphCommonClock_Config(void)
{
  RCC_PeriphCLKInitTypeDef PeriphClkInitStruct = {0};

  /** Initializes the peripherals clock
  */
  PeriphClkInitStruct.PeriphClockSelection = RCC_PERIPHCLK_ADC;
  PeriphClkInitStruct.PLL2.PLL2M = 2;
  PeriphClkInitStruct.PLL2.PLL2N = 12;
  PeriphClkInitStruct.PLL2.PLL2P = 2;
  PeriphClkInitStruct.PLL2.PLL2Q = 2;
  PeriphClkInitStruct.PLL2.PLL2R = 2;
  PeriphClkInitStruct.PLL2.PLL2RGE = RCC_PLL2VCIRANGE_3;
  PeriphClkInitStruct.PLL2.PLL2VCOSEL = RCC_PLL2VCOMEDIUM;
  PeriphClkInitStruct.PLL2.PLL2FRACN = 0;
  PeriphClkInitStruct.AdcClockSelection = RCC_ADCCLKSOURCE_PLL2;
  if (HAL_RCCEx_PeriphCLKConfig(&PeriphClkInitStruct) != HAL_OK)
  {
    Error_Handler();
  }
}

static void MX_ADC1_Init(void)
{

  ADC_MultiModeTypeDef multimode = {0};
  ADC_ChannelConfTypeDef sConfig = {0};

  /** Common config
  */
  hadc1.Instance = ADC1;
  hadc1.Init.ClockPrescaler = ADC_CLOCK_ASYNC_DIV4;
  hadc1.Init.Resolution = ADC_RESOLUTION_16B;
  hadc1.Init.ScanConvMode = ADC_SCAN_ENABLE;
  hadc1.Init.EOCSelection = ADC_EOC_SINGLE_CONV;
  hadc1.Init.LowPowerAutoWait = DISABLE;
  hadc1.Init.ContinuousConvMode = ENABLE;
  hadc1.Init.NbrOfConversion = 3;
  hadc1.Init.DiscontinuousConvMode = DISABLE;
  hadc1.Init.NbrOfDiscConversion = 3;
  hadc1.Init.ExternalTrigConv = ADC_SOFTWARE_START;
  hadc1.Init.ExternalTrigConvEdge = ADC_EXTERNALTRIGCONVEDGE_NONE;
  hadc1.Init.ConversionDataManagement = ADC_CONVERSIONDATA_DR;
  hadc1.Init.Overrun = ADC_OVR_DATA_PRESERVED;
  hadc1.Init.LeftBitShift = ADC_LEFTBITSHIFT_NONE;
  hadc1.Init.OversamplingMode = DISABLE;
  if (HAL_ADC_Init(&hadc1) != HAL_OK)
  {
    Error_Handler();
  }

  /** Configure the ADC multi-mode
  */
  multimode.Mode = ADC_MODE_INDEPENDENT;
  if (HAL_ADCEx_MultiModeConfigChannel(&hadc1, &multimode) != HAL_OK)
  {
    Error_Handler();
  }

  /** Configure Regular Channel
  */
  sConfig.Channel = ADC_CHANNEL_0;
  sConfig.Rank = ADC_REGULAR_RANK_1;
  sConfig.SamplingTime = ADC_SAMPLETIME_1CYCLE_5;
  sConfig.SingleDiff = ADC_SINGLE_ENDED;
  sConfig.OffsetNumber = ADC_OFFSET_NONE;
  sConfig.Offset = 0;
  sConfig.OffsetSignedSaturation = DISABLE;
  if (HAL_ADC_ConfigChannel(&hadc1, &sConfig) != HAL_OK)
  {
    Error_Handler();
  }

  /** Configure Regular Channel
  */
  sConfig.Channel = ADC_CHANNEL_1;
  sConfig.Rank = ADC_REGULAR_RANK_2;
  if (HAL_ADC_ConfigChannel(&hadc1, &sConfig) != HAL_OK)
  {
    Error_Handler();
  }

  /** Configure Regular Channel
  */
  sConfig.Channel = ADC_CHANNEL_10;
  sConfig.Rank = ADC_REGULAR_RANK_3;
  if (HAL_ADC_ConfigChannel(&hadc1, &sConfig) != HAL_OK)
  {
    Error_Handler();
  }

}

static void MX_ADC3_Init(void)
{

  ADC_ChannelConfTypeDef sConfig = {0};

  /** Common config
  */
  hadc3.Instance = ADC3;
  hadc3.Init.Resolution = ADC_RESOLUTION_16B;
  hadc3.Init.ScanConvMode = ADC_SCAN_DISABLE;
  hadc3.Init.EOCSelection = ADC_EOC_SINGLE_CONV;
  hadc3.Init.LowPowerAutoWait = DISABLE;
  hadc3.Init.ContinuousConvMode = DISABLE;
  hadc3.Init.NbrOfConversion = 1;
  hadc3.Init.DiscontinuousConvMode = DISABLE;
  hadc3.Init.ExternalTrigConv = ADC_SOFTWARE_START;
  hadc3.Init.ExternalTrigConvEdge = ADC_EXTERNALTRIGCONVEDGE_NONE;
  hadc3.Init.ConversionDataManagement = ADC_CONVERSIONDATA_DR;
  hadc3.Init.Overrun = ADC_OVR_DATA_PRESERVED;
  hadc3.Init.LeftBitShift = ADC_LEFTBITSHIFT_NONE;
  hadc3.Init.OversamplingMode = DISABLE;
  if (HAL_ADC_Init(&hadc3) != HAL_OK)
  {
    Error_Handler();
  }

  /** Configure Regular Channel
  */
  sConfig.Channel = ADC_CHANNEL_7;
  sConfig.Rank = ADC_REGULAR_RANK_1;
  sConfig.SamplingTime = ADC_SAMPLETIME_1CYCLE_5;
  sConfig.SingleDiff = ADC_SINGLE_ENDED;
  sConfig.OffsetNumber = ADC_OFFSET_NONE;
  sConfig.Offset = 0;
  sConfig.OffsetSignedSaturation = DISABLE;
  if (HAL_ADC_ConfigChannel(&hadc3, &sConfig) != HAL_OK)
  {
    Error_Handler();
  }

}

static void MX_SPI2_Init(void)
{

  /* SPI2 parameter configuration*/
  hspi2.Instance = SPI2;
  hspi2.Init.Mode = SPI_MODE_MASTER;
  hspi2.Init.Direction = SPI_DIRECTION_2LINES;
  hspi2.Init.DataSize = SPI_DATASIZE_16BIT;
  hspi2.Init.CLKPolarity = SPI_POLARITY_HIGH;
  hspi2.Init.CLKPhase = SPI_PHASE_2EDGE;
  hspi2.Init.NSS = SPI_NSS_SOFT;
  hspi2.Init.BaudRatePrescaler = SPI_BAUDRATEPRESCALER_16;
  hspi2.Init.FirstBit = SPI_FIRSTBIT_MSB;
  hspi2.Init.TIMode = SPI_TIMODE_DISABLE;
  hspi2.Init.CRCCalculation = SPI_CRCCALCULATION_DISABLE;
  hspi2.Init.CRCPolynomial = 0x0;
  hspi2.Init.NSSPMode = SPI_NSS_PULSE_ENABLE;
  hspi2.Init.NSSPolarity = SPI_NSS_POLARITY_LOW;
  hspi2.Init.FifoThreshold = SPI_FIFO_THRESHOLD_01DATA;
  hspi2.Init.TxCRCInitializationPattern = SPI_CRC_INITIALIZATION_ALL_ZERO_PATTERN;
  hspi2.Init.RxCRCInitializationPattern = SPI_CRC_INITIALIZATION_ALL_ZERO_PATTERN;
  hspi2.Init.MasterSSIdleness = SPI_MASTER_SS_IDLENESS_00CYCLE;
  hspi2.Init.MasterInterDataIdleness = SPI_MASTER_INTERDATA_IDLENESS_00CYCLE;
  hspi2.Init.MasterReceiverAutoSusp = SPI_MASTER_RX_AUTOSUSP_DISABLE;
  hspi2.Init.MasterKeepIOState = SPI_MASTER_KEEP_IO_STATE_DISABLE;
  hspi2.Init.IOSwap = SPI_IO_SWAP_DISABLE;
  if (HAL_SPI_Init(&hspi2) != HAL_OK)
  {
    Error_Handler();
  }
  /* USER CODE BEGIN SPI2_Init 2 */
//  if (slowSPI)
//  {
//	  hspi2.Init.BaudRatePrescaler = SPI_BAUDRATEPRESCALER_32;
//  }
  /* USER CODE END SPI2_Init 2 */

}

static void MX_TIM1_Init(void)
{

  TIM_ClockConfigTypeDef sClockSourceConfig = {0};
  TIM_MasterConfigTypeDef sMasterConfig = {0};
  TIM_OC_InitTypeDef sConfigOC = {0};
  TIM_BreakDeadTimeConfigTypeDef sBreakDeadTimeConfig = {0};

  htim1.Instance = TIM1;
  htim1.Init.Prescaler = 200;
  htim1.Init.CounterMode = TIM_COUNTERMODE_UP;
  htim1.Init.Period = 50;
  htim1.Init.ClockDivision = TIM_CLOCKDIVISION_DIV1;
  htim1.Init.RepetitionCounter = 0;
  htim1.Init.AutoReloadPreload = TIM_AUTORELOAD_PRELOAD_ENABLE;
  if (HAL_TIM_Base_Init(&htim1) != HAL_OK)
  {
    Error_Handler();
  }
  sClockSourceConfig.ClockSource = TIM_CLOCKSOURCE_INTERNAL;
  if (HAL_TIM_ConfigClockSource(&htim1, &sClockSourceConfig) != HAL_OK)
  {
    Error_Handler();
  }
  if (HAL_TIM_PWM_Init(&htim1) != HAL_OK)
  {
    Error_Handler();
  }
  sMasterConfig.MasterOutputTrigger = TIM_TRGO_RESET;
  sMasterConfig.MasterOutputTrigger2 = TIM_TRGO2_RESET;
  sMasterConfig.MasterSlaveMode = TIM_MASTERSLAVEMODE_DISABLE;
  if (HAL_TIMEx_MasterConfigSynchronization(&htim1, &sMasterConfig) != HAL_OK)
  {
    Error_Handler();
  }
  sConfigOC.OCMode = TIM_OCMODE_PWM1;
  sConfigOC.Pulse = 0;
  sConfigOC.OCPolarity = TIM_OCPOLARITY_HIGH;
  sConfigOC.OCNPolarity = TIM_OCNPOLARITY_HIGH;
  sConfigOC.OCFastMode = TIM_OCFAST_DISABLE;
  sConfigOC.OCIdleState = TIM_OCIDLESTATE_RESET;
  sConfigOC.OCNIdleState = TIM_OCNIDLESTATE_RESET;
  if (HAL_TIM_PWM_ConfigChannel(&htim1, &sConfigOC, TIM_CHANNEL_1) != HAL_OK)
  {
    Error_Handler();
  }
  sBreakDeadTimeConfig.OffStateRunMode = TIM_OSSR_DISABLE;
  sBreakDeadTimeConfig.OffStateIDLEMode = TIM_OSSI_DISABLE;
  sBreakDeadTimeConfig.LockLevel = TIM_LOCKLEVEL_OFF;
  sBreakDeadTimeConfig.DeadTime = 0;
  sBreakDeadTimeConfig.BreakState = TIM_BREAK_DISABLE;
  sBreakDeadTimeConfig.BreakPolarity = TIM_BREAKPOLARITY_HIGH;
  sBreakDeadTimeConfig.BreakFilter = 0;
  sBreakDeadTimeConfig.Break2State = TIM_BREAK2_DISABLE;
  sBreakDeadTimeConfig.Break2Polarity = TIM_BREAK2POLARITY_HIGH;
  sBreakDeadTimeConfig.Break2Filter = 0;
  sBreakDeadTimeConfig.AutomaticOutput = TIM_AUTOMATICOUTPUT_DISABLE;
  if (HAL_TIMEx_ConfigBreakDeadTime(&htim1, &sBreakDeadTimeConfig) != HAL_OK)
  {
    Error_Handler();
  }
  HAL_TIM_MspPostInit(&htim1);

}

static void MX_TIM2_Init(void)
{

  TIM_ClockConfigTypeDef sClockSourceConfig = {0};
  TIM_MasterConfigTypeDef sMasterConfig = {0};

  htim2.Instance = TIM2;
  htim2.Init.Prescaler = 200-1;
  htim2.Init.CounterMode = TIM_COUNTERMODE_UP;
  htim2.Init.Period = 10-1;
  htim2.Init.ClockDivision = TIM_CLOCKDIVISION_DIV1;
  htim2.Init.AutoReloadPreload = TIM_AUTORELOAD_PRELOAD_ENABLE;
  if (HAL_TIM_Base_Init(&htim2) != HAL_OK)
  {
    Error_Handler();
  }
  sClockSourceConfig.ClockSource = TIM_CLOCKSOURCE_INTERNAL;
  if (HAL_TIM_ConfigClockSource(&htim2, &sClockSourceConfig) != HAL_OK)
  {
    Error_Handler();
  }
  sMasterConfig.MasterOutputTrigger = TIM_TRGO_RESET;
  sMasterConfig.MasterSlaveMode = TIM_MASTERSLAVEMODE_DISABLE;
  if (HAL_TIMEx_MasterConfigSynchronization(&htim2, &sMasterConfig) != HAL_OK)
  {
    Error_Handler();
  }

}

static void MX_TIM4_Init(void)
{

  TIM_MasterConfigTypeDef sMasterConfig = {0};
  TIM_OC_InitTypeDef sConfigOC = {0};

  htim4.Instance = TIM4;
  htim4.Init.Prescaler = 200-1;
  htim4.Init.CounterMode = TIM_COUNTERMODE_UP;
  htim4.Init.Period = 10-1;
  htim4.Init.ClockDivision = TIM_CLOCKDIVISION_DIV1;
  htim4.Init.AutoReloadPreload = TIM_AUTORELOAD_PRELOAD_ENABLE;
  if (HAL_TIM_PWM_Init(&htim4) != HAL_OK)
  {
    Error_Handler();
  }
  sMasterConfig.MasterOutputTrigger = TIM_TRGO_RESET;
  sMasterConfig.MasterSlaveMode = TIM_MASTERSLAVEMODE_DISABLE;
  if (HAL_TIMEx_MasterConfigSynchronization(&htim4, &sMasterConfig) != HAL_OK)
  {
    Error_Handler();
  }
  sConfigOC.OCMode = TIM_OCMODE_PWM1;
  sConfigOC.Pulse = 0;
  sConfigOC.OCPolarity = TIM_OCPOLARITY_LOW;
  sConfigOC.OCFastMode = TIM_OCFAST_DISABLE;
  if (HAL_TIM_PWM_ConfigChannel(&htim4, &sConfigOC, TIM_CHANNEL_1) != HAL_OK)
  {
    Error_Handler();
  }
  HAL_TIM_MspPostInit(&htim4);

}

static void MX_TIM16_Init(void)
{

  htim16.Instance = TIM16;
  htim16.Init.Prescaler = 2000-1;
  htim16.Init.CounterMode = TIM_COUNTERMODE_UP;
  htim16.Init.Period = 3000-1;
  htim16.Init.ClockDivision = TIM_CLOCKDIVISION_DIV1;
  htim16.Init.RepetitionCounter = 0;
  htim16.Init.AutoReloadPreload = TIM_AUTORELOAD_PRELOAD_ENABLE;
  if (HAL_TIM_Base_Init(&htim16) != HAL_OK)
  {
    Error_Handler();
  }

}

static void MX_USART3_UART_Init(void)
{

  huart3.Instance = USART3;
  huart3.Init.BaudRate = 500000;
  huart3.Init.WordLength = UART_WORDLENGTH_8B;
  huart3.Init.StopBits = UART_STOPBITS_1;
  huart3.Init.Parity = UART_PARITY_NONE;
  huart3.Init.Mode = UART_MODE_TX_RX;
  huart3.Init.HwFlowCtl = UART_HWCONTROL_NONE;
  huart3.Init.OverSampling = UART_OVERSAMPLING_16;
  huart3.Init.OneBitSampling = UART_ONE_BIT_SAMPLE_DISABLE;
  huart3.Init.ClockPrescaler = UART_PRESCALER_DIV1;
  huart3.AdvancedInit.AdvFeatureInit = UART_ADVFEATURE_NO_INIT;
  if (HAL_UART_Init(&huart3) != HAL_OK)
  {
    Error_Handler();
  }
  if (HAL_UARTEx_SetTxFifoThreshold(&huart3, UART_TXFIFO_THRESHOLD_1_8) != HAL_OK)
  {
    Error_Handler();
  }
  if (HAL_UARTEx_SetRxFifoThreshold(&huart3, UART_RXFIFO_THRESHOLD_1_8) != HAL_OK)
  {
    Error_Handler();
  }
  if (HAL_UARTEx_DisableFifoMode(&huart3) != HAL_OK)
  {
    Error_Handler();
  }

}

static void MX_DMA_Init(void)
{

  /* DMA controller clock enable */
  __HAL_RCC_DMA1_CLK_ENABLE();

  /* DMA interrupt init */
  /* DMA1_Stream0_IRQn interrupt configuration */
  HAL_NVIC_SetPriority(DMA1_Stream0_IRQn, 0, 0);
  HAL_NVIC_EnableIRQ(DMA1_Stream0_IRQn);

}

static void MX_GPIO_Init(void)
{
  GPIO_InitTypeDef GPIO_InitStruct = {0};

  /* GPIO Ports Clock Enable */
  __HAL_RCC_GPIOB_CLK_ENABLE();
  __HAL_RCC_GPIOD_CLK_ENABLE();
  __HAL_RCC_GPIOI_CLK_ENABLE();
  __HAL_RCC_GPIOH_CLK_ENABLE();
  __HAL_RCC_GPIOC_CLK_ENABLE();
  __HAL_RCC_GPIOA_CLK_ENABLE();
  __HAL_RCC_GPIOE_CLK_ENABLE();
  __HAL_RCC_GPIOK_CLK_ENABLE();
  __HAL_RCC_GPIOF_CLK_ENABLE();
  __HAL_RCC_GPIOJ_CLK_ENABLE();

  /*Configure GPIO pin Output Level */
  HAL_GPIO_WritePin(GPIOB, GPIO_PIN_4|VNA_TRIG_Pin|LCD_RST_Pin, GPIO_PIN_RESET);

  /*Configure GPIO pin Output Level */
  HAL_GPIO_WritePin(GPIOH, GPIO_PIN_15, GPIO_PIN_RESET);

  /*Configure GPIO pin Output Level */
  HAL_GPIO_WritePin(GPIOI, GPIO_PIN_13, GPIO_PIN_RESET);

  /*Configure GPIO pin Output Level */
  HAL_GPIO_WritePin(ADC_CS_GPIO_Port, ADC_CS_Pin, GPIO_PIN_RESET);

  /*Configure GPIO pin Output Level */
  HAL_GPIO_WritePin(SPEC_RST_GPIO_Port, SPEC_RST_Pin, GPIO_PIN_SET);

  /*Configure GPIO pin Output Level */
  HAL_GPIO_WritePin(LD1_GPIO_Port, LD1_Pin, GPIO_PIN_RESET);

  /*Configure GPIO pin : PB6 */
  GPIO_InitStruct.Pin = GPIO_PIN_6;
  GPIO_InitStruct.Mode = GPIO_MODE_INPUT;
  GPIO_InitStruct.Pull = GPIO_NOPULL;
  HAL_GPIO_Init(GPIOB, &GPIO_InitStruct);

  /*Configure GPIO pins : PB4 VNA_TRIG_Pin LCD_RST_Pin */
  GPIO_InitStruct.Pin = GPIO_PIN_4|VNA_TRIG_Pin|LCD_RST_Pin;
  GPIO_InitStruct.Mode = GPIO_MODE_OUTPUT_PP;
  GPIO_InitStruct.Pull = GPIO_NOPULL;
  GPIO_InitStruct.Speed = GPIO_SPEED_FREQ_LOW;
  HAL_GPIO_Init(GPIOB, &GPIO_InitStruct);

  /*Configure GPIO pin : PH15 */
  GPIO_InitStruct.Pin = GPIO_PIN_15;
  GPIO_InitStruct.Mode = GPIO_MODE_OUTPUT_PP;
  GPIO_InitStruct.Pull = GPIO_NOPULL;
  GPIO_InitStruct.Speed = GPIO_SPEED_FREQ_LOW;
  HAL_GPIO_Init(GPIOH, &GPIO_InitStruct);

  /*Configure GPIO pin : LCD_DISP_Pin */
  GPIO_InitStruct.Pin = LCD_DISP_Pin;
  GPIO_InitStruct.Mode = GPIO_MODE_INPUT;
  GPIO_InitStruct.Pull = GPIO_NOPULL;
  HAL_GPIO_Init(LCD_DISP_GPIO_Port, &GPIO_InitStruct);

  /*Configure GPIO pin : USB_OTG_FS2_ID_Pin */
  GPIO_InitStruct.Pin = USB_OTG_FS2_ID_Pin;
  GPIO_InitStruct.Mode = GPIO_MODE_INPUT;
  GPIO_InitStruct.Pull = GPIO_NOPULL;
  HAL_GPIO_Init(USB_OTG_FS2_ID_GPIO_Port, &GPIO_InitStruct);

  /*Configure GPIO pin : B1_Pin */
  GPIO_InitStruct.Pin = B1_Pin;
  GPIO_InitStruct.Mode = GPIO_MODE_INPUT;
  GPIO_InitStruct.Pull = GPIO_NOPULL;
  HAL_GPIO_Init(B1_GPIO_Port, &GPIO_InitStruct);

  /*Configure GPIO pin : PI8 */
  GPIO_InitStruct.Pin = GPIO_PIN_8;
  GPIO_InitStruct.Mode = GPIO_MODE_IT_RISING;
  GPIO_InitStruct.Pull = GPIO_NOPULL;
  HAL_GPIO_Init(GPIOI, &GPIO_InitStruct);

  /*Configure GPIO pin : PE6 */
  GPIO_InitStruct.Pin = GPIO_PIN_6;
  GPIO_InitStruct.Mode = GPIO_MODE_IT_RISING;
  GPIO_InitStruct.Pull = GPIO_NOPULL;
  HAL_GPIO_Init(GPIOE, &GPIO_InitStruct);

  /*Configure GPIO pin : PI13 */
  GPIO_InitStruct.Pin = GPIO_PIN_13;
  GPIO_InitStruct.Mode = GPIO_MODE_OUTPUT_PP;
  GPIO_InitStruct.Pull = GPIO_NOPULL;
  GPIO_InitStruct.Speed = GPIO_SPEED_FREQ_LOW;
  HAL_GPIO_Init(GPIOI, &GPIO_InitStruct);

  /*Configure GPIO pin : LCD_BL_Pin */
  GPIO_InitStruct.Pin = LCD_BL_Pin;
  GPIO_InitStruct.Mode = GPIO_MODE_INPUT;
  GPIO_InitStruct.Pull = GPIO_NOPULL;
  HAL_GPIO_Init(LCD_BL_GPIO_Port, &GPIO_InitStruct);

  /*Configure GPIO pin : PC3 */
  GPIO_InitStruct.Pin = GPIO_PIN_3;
  GPIO_InitStruct.Mode = GPIO_MODE_ANALOG;
  GPIO_InitStruct.Pull = GPIO_NOPULL;
  HAL_GPIO_Init(GPIOC, &GPIO_InitStruct);

  /*Configure GPIO pin : ADC_CS_Pin */
  GPIO_InitStruct.Pin = ADC_CS_Pin;
  GPIO_InitStruct.Mode = GPIO_MODE_OUTPUT_PP;
  GPIO_InitStruct.Pull = GPIO_NOPULL;
  GPIO_InitStruct.Speed = GPIO_SPEED_FREQ_LOW;
  HAL_GPIO_Init(ADC_CS_GPIO_Port, &GPIO_InitStruct);

  /*Configure GPIO pin : SPEC_RST_Pin */
  GPIO_InitStruct.Pin = SPEC_RST_Pin;
  GPIO_InitStruct.Mode = GPIO_MODE_OUTPUT_PP;
  GPIO_InitStruct.Pull = GPIO_PULLDOWN;
  GPIO_InitStruct.Speed = GPIO_SPEED_FREQ_LOW;
  HAL_GPIO_Init(SPEC_RST_GPIO_Port, &GPIO_InitStruct);

  /*Configure GPIO pin : LD1_Pin */
  GPIO_InitStruct.Pin = LD1_Pin;
  GPIO_InitStruct.Mode = GPIO_MODE_OUTPUT_PP;
  GPIO_InitStruct.Pull = GPIO_NOPULL;
  GPIO_InitStruct.Speed = GPIO_SPEED_FREQ_LOW;
  HAL_GPIO_Init(LD1_GPIO_Port, &GPIO_InitStruct);

  /* EXTI interrupt init*/
  HAL_NVIC_SetPriority(EXTI9_5_IRQn, 0, 0);
  HAL_NVIC_EnableIRQ(EXTI9_5_IRQn);

}

/* USER CODE BEGIN 4 */
void HAL_GPIO_EXTI_Callback(uint16_t GPIO_Pin)
{
	if (GPIO_Pin == GPIO_PIN_6)
	{
		//optReady = true;
	}
	else if (GPIO_Pin == GPIO_PIN_8)
	{
		//HAL_GPIO_TogglePin(GPIOI,GPIO_PIN_13);
		//optReady = true;
	}
}

void HAL_TIM_PeriodElapsedCallback(TIM_HandleTypeDef* htim)
{

	if (htim == &htim2)
	{
//		HAL_GPIO_TogglePin(GPIOA,ADC_CS_Pin);
//		HAL_SPI_Receive(&hspi2, (uint16_t *)spi_read_buf, 1, 100);
//		HAL_GPIO_TogglePin(GPIOA,ADC_CS_Pin);
//		HAL_SPI_Receive(&hspi2, (uint16_t *)spi_read_buf, 1, 100);
		//HAL_GPIO_TogglePin(GPIOI,GPIO_PIN_13);
		//counterPrevious = counter;
		counter++;
		//HAL_GPIO_TogglePin(GPIOI,GPIO_PIN_13);
	}
	else if (htim == &htim16)
	{
		state = collect;
		counter = 0;
		slowCounter++;
	}
}
/* USER CODE END 4 */

void Error_Handler(void)
{
  __disable_irq();
  while (1)
  {
  }
}
